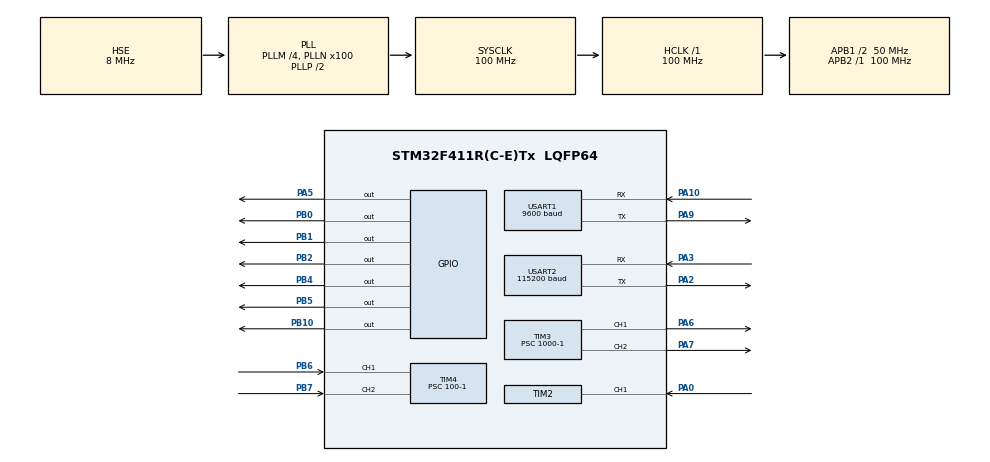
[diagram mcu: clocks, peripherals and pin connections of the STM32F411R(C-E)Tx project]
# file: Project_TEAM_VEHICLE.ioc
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FREERTOS.Tasks01=L_MOTOR_TASK,24,128,L_MOTOR_TASK01,Default,NULL,Dynamic,NULL,NULL;R_MOTOR_TASK,24,128,R_MOTOR_TASK01,Default,NULL,Dynamic,NULL,NULL;Sonic_Center,24,128,Sonic_Center01,Default,NULL,Dynamic,NULL,NULL;DriveTask,24,128,DriveTask01,Default,NULL,Dynamic,NULL,NULL;Sonic_Left,24,128,Sonic_Left01,Default,NULL,Dynamic,NULL,NULL;Sonic_Right,24,128,Sonic_Right01,Default,NULL,Dynamic,NULL,NULL
FREERTOS.configUSE_NEWLIB_REENTRANT=1
Mcu.Family=STM32F4
Mcu.Name=STM32F411R(C-E)Tx
Mcu.Package=LQFP64
NVIC.PriorityGroup=NVIC_PRIORITYGROUP_4
NVIC.TIM1_UP_TIM10_IRQn=true\:15\:0\:false\:false\:true\:false\:false\:true\:true
NVIC.TIM2_IRQn=true\:5\:0\:false\:false\:true\:true\:true\:true\:true
NVIC.TIM3_IRQn=true\:5\:0\:false\:false\:true\:true\:true\:true\:true
NVIC.TIM4_IRQn=true\:5\:0\:false\:false\:true\:true\:true\:true\:true
NVIC.TimeBase=TIM1_UP_TIM10_IRQn
NVIC.TimeBaseIP=TIM10
NVIC.USART1_IRQn=true\:5\:0\:false\:false\:true\:true\:true\:true\:true
NVIC.USART2_IRQn=true\:5\:0\:false\:false\:true\:true\:true\:true\:true
PA0-WKUP.Signal=S_TIM2_CH1_ETR
PA10.Mode=Asynchronous
PA10.Signal=USART1_RX
PA13.Mode=Serial_Wire
PA13.Signal=SYS_JTMS-SWDIO
PA14.Mode=Serial_Wire
PA14.Signal=SYS_JTCK-SWCLK
PA2.Mode=Asynchronous
PA2.Signal=USART2_TX
PA3.Mode=Asynchronous
PA3.Signal=USART2_RX
PA5.GPIO_Speed=GPIO_SPEED_FREQ_VERY_HIGH
PA5.Signal=GPIO_Output
PA6.Signal=S_TIM3_CH1
PA7.Signal=S_TIM3_CH2
PA9.Mode=Asynchronous
PA9.Signal=USART1_TX
PB0.Signal=GPIO_Output
PB1.Signal=GPIO_Output
PB10.Signal=GPIO_Output
PB2.Signal=GPIO_Output
PB4.GPIO_Speed=GPIO_SPEED_FREQ_VERY_HIGH
PB4.Signal=GPIO_Output
PB5.GPIO_Speed=GPIO_SPEED_FREQ_VERY_HIGH
PB5.Signal=GPIO_Output
PB6.Signal=S_TIM4_CH1
PB7.Signal=S_TIM4_CH2
PH0\ -\ OSC_IN.Mode=HSE-External-Oscillator
PH0\ -\ OSC_IN.Signal=RCC_OSC_IN
PH1\ -\ OSC_OUT.Mode=HSE-External-Oscillator
PH1\ -\ OSC_OUT.Signal=RCC_OSC_OUT
ProjectManager.HeapSize=0x200
ProjectManager.StackSize=0x400
ProjectManager.TargetToolchain=STM32CubeIDE
RCC.48MHZClocksFreq_Value=50000000
RCC.AHBFreq_Value=100000000
RCC.APB1CLKDivider=RCC_HCLK_DIV2
RCC.APB1Freq_Value=50000000
RCC.APB1TimFreq_Value=100000000
RCC.APB2Freq_Value=100000000
RCC.APB2TimFreq_Value=100000000
RCC.CortexFreq_Value=100000000
RCC.HCLKFreq_Value=100000000
RCC.HSE_VALUE=8000000
RCC.HSI_VALUE=16000000
RCC.LSE_VALUE=32768
RCC.PLLM=4
RCC.PLLN=100
RCC.PLLSourceVirtual=RCC_PLLSOURCE_HSE
RCC.SYSCLKFreq_VALUE=100000000
RCC.SYSCLKSource=RCC_SYSCLKSOURCE_PLLCLK
RCC.VCOOutputFreq_Value=200000000
SH.S_TIM2_CH1_ETR.0=TIM2_CH1,Input_Capture1_from_TI1
SH.S_TIM3_CH1.0=TIM3_CH1,PWM Generation1 CH1
SH.S_TIM3_CH2.0=TIM3_CH2,PWM Generation2 CH2
SH.S_TIM4_CH1.0=TIM4_CH1,Input_Capture1_from_TI1
SH.S_TIM4_CH2.0=TIM4_CH2,Input_Capture2_from_TI2
TIM11.Prescaler=100-1
TIM2.Channel-Input_Capture1_from_TI1=TIM_CHANNEL_1
TIM2.Period=65535
TIM2.Prescaler=100-1
TIM3.Channel-PWM\ Generation1\ CH1=TIM_CHANNEL_1
TIM3.Channel-PWM\ Generation2\ CH2=TIM_CHANNEL_2
TIM3.Period=1000-1
TIM3.Prescaler=1000-1
TIM4.Channel-Input_Capture1_from_TI1=TIM_CHANNEL_1
TIM4.Channel-Input_Capture2_from_TI2=TIM_CHANNEL_2
TIM4.Prescaler=100-1
USART1.BaudRate=9600
USART1.VirtualMode=VM_ASYNC
USART2.BaudRate=115200
USART2.VirtualMode=VM_ASYNC
VP_FREERTOS_VS_CMSIS_V2.Mode=CMSIS_V2
VP_SYS_VS_tim10.Mode=TIM10
VP_TIM11_VS_ClockSourceINT.Mode=Enable_Timer
VP_TIM2_VS_ClockSourceINT.Mode=Internal
VP_TIM3_VS_ClockSourceINT.Mode=Internal
VP_TIM4_VS_ClockSourceINT.Mode=Internal
board=custom

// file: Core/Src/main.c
/* USER CODE BEGIN Header */
/**
  ******************************************************************************
  * @file           : main.c
  * @brief          : Main program body
  ******************************************************************************
  * @attention
  *
  * Copyright (c) 2025 STMicroelectronics.
  * All rights reserved.
  *
  * This software is licensed under terms that can be found in the LICENSE file
  * in the root directory of this software component.
  * If no LICENSE file comes with this software, it is provided AS-IS.
  *
  ******************************************************************************
  */
/* USER CODE END Header */
#include "main.h"
#include "cmsis_os.h"
#include "tim.h"
#include "usart.h"
#include "gpio.h"

/* USER CODE BEGIN Includes */

#include "stdio.h"
#include "motor.h"
#include "usart.h"
#include "ultrasonic.h"
#include "task.h"

/* USER CODE END Includes */

void SystemClock_Config(void);
void MX_FREERTOS_Init(void);

int main(void)
{

  /* MCU Configuration--------------------------------------------------------*/

  /* Reset of all peripherals, Initializes the Flash interface and the Systick. */
  HAL_Init();

  /* Configure the system clock */
  SystemClock_Config();

  /* Initialize all configured peripherals */
  MX_GPIO_Init();
  MX_USART2_UART_Init();
  MX_TIM3_Init();
  MX_USART1_UART_Init();
  MX_TIM11_Init();
  MX_TIM2_Init();
  MX_TIM4_Init();

  /* Init scheduler */
  osKernelInitialize();

  /* Call init function for freertos objects (in cmsis_os2.c) */
  MX_FREERTOS_Init();

  /* Start scheduler */
  osKernelStart();

  /* We should never get here as control is now taken by the scheduler */

  /* Infinite loop */
  while (1)
  {

  }
}

void SystemClock_Config(void)
{
  RCC_OscInitTypeDef RCC_OscInitStruct = {0};
  RCC_ClkInitTypeDef RCC_ClkInitStruct = {0};

  /** Configure the main internal regulator output voltage
  */
  __HAL_RCC_PWR_CLK_ENABLE();
  __HAL_PWR_VOLTAGESCALING_CONFIG(PWR_REGULATOR_VOLTAGE_SCALE1);

  /** Initializes the RCC Oscillators according to the specified parameters
  * in the RCC_OscInitTypeDef structure.
  */
  RCC_OscInitStruct.OscillatorType = RCC_OSCILLATORTYPE_HSE;
  RCC_OscInitStruct.HSEState = RCC_HSE_ON;
  RCC_OscInitStruct.PLL.PLLState = RCC_PLL_ON;
  RCC_OscInitStruct.PLL.PLLSource = RCC_PLLSOURCE_HSE;
  RCC_OscInitStruct.PLL.PLLM = 4;
  RCC_OscInitStruct.PLL.PLLN = 100;
  RCC_OscInitStruct.PLL.PLLP = RCC_PLLP_DIV2;
  RCC_OscInitStruct.PLL.PLLQ = 4;
  if (HAL_RCC_OscConfig(&RCC_OscInitStruct) != HAL_OK)
  {
    Error_Handler();
  }

  /** Initializes the CPU, AHB and APB buses clocks
  */
  RCC_ClkInitStruct.ClockType = RCC_CLOCKTYPE_HCLK|RCC_CLOCKTYPE_SYSCLK
                              |RCC_CLOCKTYPE_PCLK1|RCC_CLOCKTYPE_PCLK2;
  RCC_ClkInitStruct.SYSCLKSource = RCC_SYSCLKSOURCE_PLLCLK;
  RCC_ClkInitStruct.AHBCLKDivider = RCC_SYSCLK_DIV1;
  RCC_ClkInitStruct.APB1CLKDivider = RCC_HCLK_DIV2;
  RCC_ClkInitStruct.APB2CLKDivider = RCC_HCLK_DIV1;

  if (HAL_RCC_ClockConfig(&RCC_ClkInitStruct, FLASH_LATENCY_3) != HAL_OK)
  {
    Error_Handler();
  }
}

void HAL_TIM_PeriodElapsedCallback(TIM_HandleTypeDef *htim)
{
  if (htim->Instance == TIM10)
  {
    HAL_IncTick();
  }
}

void Error_Handler(void)
{
  __disable_irq();
  while (1)
  {
  }
}

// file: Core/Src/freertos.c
/* USER CODE BEGIN Header */
/**
  ******************************************************************************
  * File Name          : freertos.c
  * Description        : Code for freertos applications
  ******************************************************************************
  * @attention
  *
  * Copyright (c) 2025 STMicroelectronics.
  * All rights reserved.
  *
  * This software is licensed under terms that can be found in the LICENSE file
  * in the root directory of this software component.
  * If no LICENSE file comes with this software, it is provided AS-IS.
  *
  ******************************************************************************
  */
/* USER CODE END Header */

#include "FreeRTOS.h"
#include "task.h"
#include "main.h"
#include "cmsis_os.h"

/* USER CODE BEGIN Includes */

#include "stdio.h"
#include "motor.h"
#include "usart.h"
#include "ultrasonic.h"
#include "tim.h"
#include "gpio.h"

/* USER CODE END Includes */

/* USER CODE BEGIN PTD */

//extern UART_HandleTypeDef huart1; // 블루투스
//extern UART_HandleTypeDef huart2; // debug
//extern uint8_t distance;  // 초음파 센서

/* USER CODE END PTD */

/* USER CODE BEGIN PM */

#ifdef __GNUC__
/* With GCC small printf (option LD Linker->Libraries->Small printf
 * set to 'Yes') calls __io_putchar() */
#define PUTCHAR_PROTOTYPE int  __io_putchar(int ch)
#else
#define PUTCHAR_PROTOTYPE int  fputc(int ch, FILE *f)
#endif /* __GNUC__*/

/** @brief Retargets the C library printf function to the USART.
 *  @param None
 *  @retval None
 */
PUTCHAR_PROTOTYPE
{
  /* Place your implementation of fputc here */
  /* e.g. write a character to the USART2 and Loop
     until the end of transmission */
  if(ch == '\n')
    HAL_UART_Transmit(&huart2, (uint8_t*) "\r", 1, 0xFFFF);
    HAL_UART_Transmit(&huart2, (uint8_t*) &ch, 1, 0xFFFF);
}

/* USER CODE END PM */

/* USER CODE BEGIN Variables */

extern UART_HandleTypeDef huart1;
//extern UART_HandleTypeDef huart2;
extern uint8_t distance;
uint8_t rx_data;

uint16_t IC_Val1_C = 0, IC_Val2_C = 0;
uint16_t IC_Val1_L = 0, IC_Val2_L = 0;
uint16_t IC_Val1_R = 0, IC_Val2_R = 0;

uint8_t capture_flag_C = 0;
uint8_t capture_flag_L = 0;
uint8_t capture_flag_R = 0;

uint16_t echoTime_C, echoTime_L, echoTime_R;
uint8_t distance_center = 0;
uint8_t distance_left = 0;
uint8_t distance_right = 0;

/* USER CODE END Variables */
/* Definitions for L_MOTOR_TASK */
osThreadId_t L_MOTOR_TASKHandle;
const osThreadAttr_t L_MOTOR_TASK_attributes = {
  .name = "L_MOTOR_TASK",
  .stack_size = 128 * 4,
  .priority = (osPriority_t) osPriorityNormal,
};
/* Definitions for R_MOTOR_TASK */
osThreadId_t R_MOTOR_TASKHandle;
const osThreadAttr_t R_MOTOR_TASK_attributes = {
  .name = "R_MOTOR_TASK",
  .stack_size = 128 * 4,
  .priority = (osPriority_t) osPriorityNormal,
};
/* Definitions for Sonic_Center */
osThreadId_t Sonic_CenterHandle;
const osThreadAttr_t Sonic_Center_attributes = {
  .name = "Sonic_Center",
  .stack_size = 128 * 4,
  .priority = (osPriority_t) osPriorityNormal,
};
/* Definitions for DriveTask */
osThreadId_t DriveTaskHandle;
const osThreadAttr_t DriveTask_attributes = {
  .name = "DriveTask",
  .stack_size = 128 * 4,
  .priority = (osPriority_t) osPriorityNormal,
};
/* Definitions for Sonic_Left */
osThreadId_t Sonic_LeftHandle;
const osThreadAttr_t Sonic_Left_attributes = {
  .name = "Sonic_Left",
  .stack_size = 128 * 4,
  .priority = (osPriority_t) osPriorityNormal,
};
/* Definitions for Sonic_Right */
osThreadId_t Sonic_RightHandle;
const osThreadAttr_t Sonic_Right_attributes = {
  .name = "Sonic_Right",
  .stack_size = 128 * 4,
  .priority = (osPriority_t) osPriorityNormal,
};

/* USER CODE BEGIN FunctionPrototypes */

void HAL_UART_RxCpltCallback(UART_HandleTypeDef *huart)
{
//  if (huart->Instance == USART2)
//  {
  HAL_UART_Receive_IT(&huart2, &rx_data, sizeof(rx_data));  // 다음 수신 준비 // 디버그용
  HAL_UART_Receive_IT(&huart1, &rx_data, sizeof(rx_data));  // 블루투스
    switch (rx_data)
    {
      case 'F':
        L_Motor_Forward();
        R_Motor_Forward();
        Set_L_Motor_PWM(700);
        Set_R_Motor_PWM(700);
        break;
      case 'B':
        L_Motor_Backward();
        R_Motor_Backward();
        Set_L_Motor_PWM(700);
        Set_R_Motor_PWM(700);
        break;
      case 'L':
        L_Motor_Backward();
        R_Motor_Forward();
        Set_L_Motor_PWM(200);
        Set_R_Motor_PWM(600);
        break;
      case 'R':
        L_Motor_Forward();
        R_Motor_Backward();
        Set_L_Motor_PWM(600);
        Set_R_Motor_PWM(200);
        break;
      case 'X':
        L_Motor_Stop();
        R_Motor_Stop();
        break;
      case 'S':
        L_Motor_Stop();
        R_Motor_Stop();
        break;
    }

//  }
}

void HAL_TIM_IC_CaptureCallback(TIM_HandleTypeDef *htim)
{
  if(htim->Channel == HAL_TIM_ACTIVE_CHANNEL_1)
  {
    if(capture_flag_C == 0)  // 아직 캡처를 안했다면
    {
      IC_Val1_C = HAL_TIM_ReadCapturedValue(&htim2, TIM_CHANNEL_1);
      capture_flag_C = 1;    // 캡처 했음 !!!
      // 캡처에 대한 극성을 라이징에서 폴링으로 바꿈
      __HAL_TIM_SET_CAPTUREPOLARITY(&htim2, TIM_CHANNEL_1, TIM_INPUTCHANNELPOLARITY_FALLING);
    }
    else if(capture_flag_C == 1) // 캡처를 했다면
    {
      IC_Val2_C = HAL_TIM_ReadCapturedValue(&htim2, TIM_CHANNEL_1);
      __HAL_TIM_SET_COUNTER(&htim2, 0);

      if(IC_Val2_C > IC_Val1_C)
      {
        echoTime_C = IC_Val2_C - IC_Val1_C;
      }
      else if(IC_Val1_C > IC_Val2_C)
      {
        echoTime_C = (0xffff - IC_Val1_C) + IC_Val2_C;
      }
      distance_center = echoTime_C / 58;
      capture_flag_C = 0;
      __HAL_TIM_SET_CAPTUREPOLARITY(&htim2, TIM_CHANNEL_1, TIM_INPUTCHANNELPOLARITY_RISING);
      __HAL_TIM_DISABLE_IT(&htim2, TIM_IT_CC1);
    }
  }
}

/* USER CODE END FunctionPrototypes */

void L_MOTOR_TASK01(void *argument);
void R_MOTOR_TASK01(void *argument);
void Sonic_Center01(void *argument);
void DriveTask01(void *argument);
void Sonic_Left01(void *argument);
void Sonic_Right01(void *argument);

void MX_FREERTOS_Init(void); /* (MISRA C 2004 rule 8.1) */

void MX_FREERTOS_Init(void) {
  /* USER CODE BEGIN Init */

  HAL_UART_Receive_IT(&huart1, &rx_data, sizeof(rx_data));
  HAL_UART_Receive_IT(&huart2, &rx_data, sizeof(rx_data));

  HAL_TIM_Base_Start(&htim11);

  HAL_TIM_IC_Start_IT(&htim2, TIM_CHANNEL_1);
  HAL_TIM_IC_Start_IT(&htim4, TIM_CHANNEL_1);
  HAL_TIM_IC_Start_IT(&htim4, TIM_CHANNEL_2);

  /* USER CODE END Init */

  /* Create the thread(s) */
  /* creation of L_MOTOR_TASK */
  L_MOTOR_TASKHandle = osThreadNew(L_MOTOR_TASK01, NULL, &L_MOTOR_TASK_attributes);

  /* creation of R_MOTOR_TASK */
  R_MOTOR_TASKHandle = osThreadNew(R_MOTOR_TASK01, NULL, &R_MOTOR_TASK_attributes);

  /* creation of Sonic_Center */
  Sonic_CenterHandle = osThreadNew(Sonic_Center01, NULL, &Sonic_Center_attributes);

  /* creation of DriveTask */
  DriveTaskHandle = osThreadNew(DriveTask01, NULL, &DriveTask_attributes);

  /* creation of Sonic_Left */
  Sonic_LeftHandle = osThreadNew(Sonic_Left01, NULL, &Sonic_Left_attributes);

  /* creation of Sonic_Right */
  Sonic_RightHandle = osThreadNew(Sonic_Right01, NULL, &Sonic_Right_attributes);

}

void L_MOTOR_TASK01(void *argument)
{
  /* USER CODE BEGIN L_MOTOR_TASK01 */

  HAL_TIM_PWM_Start(&htim3, TIM_CHANNEL_1); // 좌측 PWM 시작
//  HAL_UART_Receive_IT(&huart2, &rx_data, sizeof(rx_data));  // UART 수신 시작
  /* Infinite loop */
  for(;;)
  {
    osDelay(100);  // 아무것도 하지 않고 대기
  }
  /* USER CODE END L_MOTOR_TASK01 */
}

void R_MOTOR_TASK01(void *argument)
{
  /* USER CODE BEGIN R_MOTOR_TASK01 */
  HAL_TIM_PWM_Start(&htim3, TIM_CHANNEL_2); // 우측 PWM 시작
  /* Infinite loop */
  for(;;)
  {
    osDelay(100);  // 아무것도 하지 않고 대기
  }
  /* USER CODE END R_MOTOR_TASK01 */
}

void Sonic_Center01(void *argument)
{
  /* USER CODE BEGIN Sonic_Center01 */
  /* Infinite loop */
  for(;;)
  {
    int aaa;
    aaa = 1;

//    HCSR04_TRIG_CENTER();
    HAL_GPIO_WritePin(GPIOA, GPIO_PIN_5, GPIO_PIN_RESET);
    delay_us(10);
    HAL_GPIO_WritePin(GPIOA, GPIO_PIN_5, GPIO_PIN_SET);

    __HAL_TIM_ENABLE_IT(&htim2, TIM_IT_CC1);
    aaa = 2;
    osDelay(100);
  }
  /* USER CODE END Sonic_Center01 */
}

void DriveTask01(void *argument)
{
  /* USER CODE BEGIN DriveTask01 */

//  printf("Center: %d cm, Left: %d cm, Right: %d cm\r\n", distance_center, distance_left, distance_right);

  /* Infinite loop */
  for(;;)
  {
    printf("Center: %d cm, Left: %d cm, Right: %d cm\r\n", distance_center, distance_left, distance_right);
    if (distance_center > 25)
    {
      L_Motor_Forward();
      R_Motor_Forward();
      Set_L_Motor_PWM(600);
      Set_R_Motor_PWM(600);
    }
    else
    {
      if (distance_left > distance_right)
      {
        // 왼쪽 넓으면 왼쪽 회전
        L_Motor_Backward();
        R_Motor_Forward();
      }
      else
      {
        // 오른쪽 넓으면 오른쪽 회전
        L_Motor_Forward();
        R_Motor_Backward();
      }
      Set_L_Motor_PWM(600);
      Set_R_Motor_PWM(600);
      osDelay(400);  // 회전 시간
    }
    osDelay(100);

  }
  /* USER CODE END DriveTask01 */
}

void Sonic_Left01(void *argument)
{
  /* USER CODE BEGIN Sonic_Left01 */

  /* Infinite loop */
  for(;;)
  {
//    HCSR04_TRIG_LEFT();
    osDelay(100);
  }
  /* USER CODE END Sonic_Left01 */
}

void Sonic_Right01(void *argument)
{
  /* USER CODE BEGIN Sonic_Right01 */

  /* Infinite loop */
  for(;;)
  {
//    HCSR04_TRIG_RIGHT();
    osDelay(100);
  }
  /* USER CODE END Sonic_Right01 */
}
